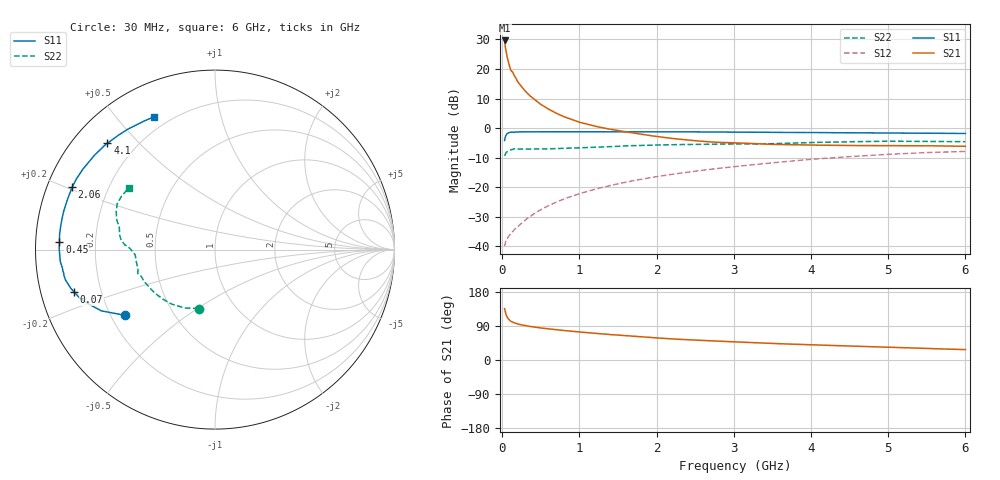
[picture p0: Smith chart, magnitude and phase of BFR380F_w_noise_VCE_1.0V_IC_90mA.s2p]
! Infineon Technologies  Discrete & RF Semiconductors
! BFR380F
! VCE =  1.0 V,  IC =  90 mA
! Common Emitter S-Parameters:  Nov 2015
# GHz  S  MA  R  50
!  f  S11  S21  S12  S22
! GHz  MAG  ANG  MAG  ANG  MAG  ANG  MAG  ANG
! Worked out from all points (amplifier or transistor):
!   206 points, 30 MHz to 6 GHz, reference 50 ohm
!   highest |S21| = 29.7 dB at 30 MHz (marker M1)
!   |S21| within 3 dB of that: start of sweep to 44.44 MHz
!   unconditionally stable (mu >= 1): 153.1 MHz to end of sweep
!   at 200 MHz: K = 1.09, MAG = 22.7 dB, |S12| = -33.3 dB
!   at 1.56 GHz: K = 1.33, MAG = 5.3 dB, |S12| = -18.5 dB
!   at 6 GHz: K = 1.12, MAG = -1.3 dB, |S12| = -7.9 dB
!   lowest NFmin = 2.09 dB at 450 MHz
!   S11 on the Smith chart (normalised r, x): 30 MHz: 0.26, -0.31; 70 MHz: 0.10, -0.15; 450 MHz: 0.07, +0.03; 2.06 GHz: 0.07, +0.21; 4.1 GHz: 0.10, +0.41; 6 GHz: 0.14, +0.63
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0.03  0.6191 -143.7  30.46 135.4  0.0101 52.2  0.3408 -105.6
0.04  0.7197 -151.7  23.19 125.3  0.0115 48.4  0.3667 -117.5
0.05  0.7672 -156.8  19.61 118.9  0.0129 45.4  0.3876 -128.4
0.06  0.8011 -160.4  16.62 114.4  0.0135 44.1  0.3993 -135.8
0.07  0.819 -163.2  14.65 110.6  0.0142 43.9  0.4084 -141.5
0.09  0.842 -167.1  11.63 105.7  0.0153 44.5  0.4209 -149.2
0.11  0.8528 -169.8  9.577 102.2  0.0165 46.1  0.4299 -154.5
0.12  0.8539 -170.7  9.157 101.2  0.017 46.7  0.4334 -156.7
0.13  0.8524 -171.0  9.081 100.4  0.0176 47.6  0.4356 -158.6
0.15  0.8556 -172.8  7.981 98.5  0.0189 49.3  0.4504 -162.8
0.2  0.8647 -175.7  6.091 94.9  0.0216 54.5  0.4425 -166.1
0.3  0.8667 -179.2  4.206 90.4  0.0281 61.2  0.4435 -170.6
0.36  0.868 179.2  3.519 88.5  0.0321 63.9  0.4447 -172.3
0.45  0.8678 177.1  2.826 85.7  0.0384 66.9  0.4442 -174.1
0.7  0.8698 172.8  1.787 80.0  0.0562 70.9  0.4521 -177.4
1.04  0.8694 168.1  1.224 73.3  0.0809 72.3  0.4679 -179.9
2.02  0.8687 156.9  0.719 58.0  0.153 69.7  0.5194 175.0
2.06  0.8684 156.4  0.708 57.5  0.1559 69.5  0.5208 174.8
3.1  0.8571 146.1  0.56 47.2  0.2304 63.9  0.5418 169.2
4.1  0.8428 135.3  0.516 39.5  0.3038 56.2  0.5759 162.2
5.1  0.8261 124.9  0.505 33.2  0.3661 48.6  0.6013 153.9
6  0.8145 114.5  0.494 27.4  0.404 41.6  0.5908 144.6
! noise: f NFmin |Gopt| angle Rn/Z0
0.45  2.09  0.53  -173  0.08
0.9  2.16  0.56  -169  0.08
1.8  2.62  0.61  -157  0.14
1.9  2.77  0.62  -157  0.14
2.4  2.91  0.63  -148  0.23
3.5  3.85  0.64  -137  0.48
